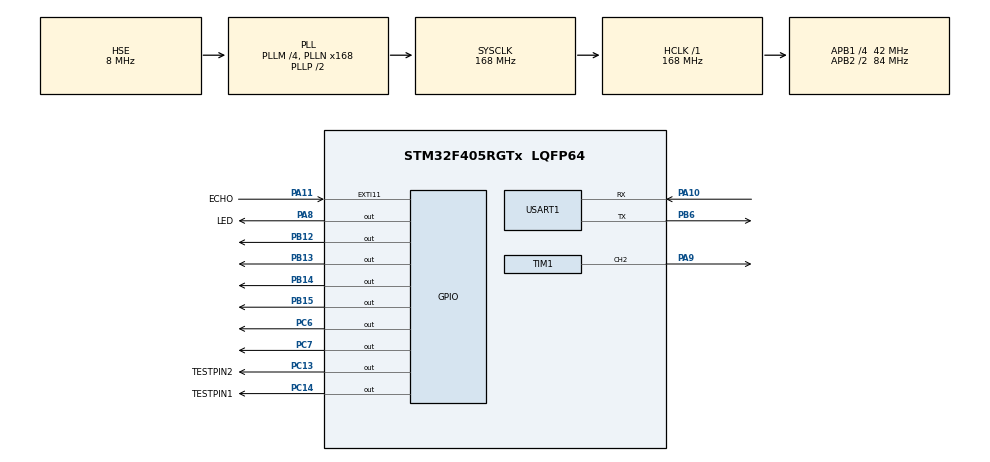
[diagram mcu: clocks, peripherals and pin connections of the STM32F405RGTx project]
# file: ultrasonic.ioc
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Dma.Request0=TIM1_CH2
Dma.TIM1_CH2.0.Direction=DMA_MEMORY_TO_PERIPH
Dma.TIM1_CH2.0.FIFOMode=DMA_FIFOMODE_DISABLE
Dma.TIM1_CH2.0.Instance=DMA2_Stream2
Dma.TIM1_CH2.0.MemDataAlignment=DMA_MDATAALIGN_HALFWORD
Dma.TIM1_CH2.0.MemInc=DMA_MINC_ENABLE
Dma.TIM1_CH2.0.Mode=DMA_NORMAL
Dma.TIM1_CH2.0.PeriphDataAlignment=DMA_PDATAALIGN_HALFWORD
Dma.TIM1_CH2.0.PeriphInc=DMA_PINC_DISABLE
Dma.TIM1_CH2.0.Priority=DMA_PRIORITY_MEDIUM
Mcu.Family=STM32F4
Mcu.Name=STM32F405RGTx
Mcu.Package=LQFP64
NVIC.DMA2_Stream2_IRQn=true\:1\:0\:true\:false\:true\:false\:true
NVIC.EXTI15_10_IRQn=true\:1\:1\:true\:false\:true\:true\:true
NVIC.PriorityGroup=NVIC_PRIORITYGROUP_2
PA10.Mode=Asynchronous
PA10.Signal=USART1_RX
PA11.GPIO_Label=ECHO
PA11.GPIO_ModeDefaultEXTI=GPIO_MODE_IT_FALLING
PA11.GPIO_PuPd=GPIO_PULLUP
PA11.Signal=GPXTI11
PA13.Mode=Serial_Wire
PA13.Signal=SYS_JTMS-SWDIO
PA14.Mode=Serial_Wire
PA14.Signal=SYS_JTCK-SWCLK
PA8.GPIO_Label=LED
PA8.GPIO_PuPd=GPIO_PULLUP
PA8.Signal=GPIO_Output
PA9.Signal=S_TIM1_CH2
PB12.GPIO_PuPd=GPIO_PULLUP
PB12.GPIO_Speed=GPIO_SPEED_FREQ_HIGH
PB12.Signal=GPIO_Output
PB13.GPIO_PuPd=GPIO_PULLUP
PB13.GPIO_Speed=GPIO_SPEED_FREQ_HIGH
PB13.Signal=GPIO_Output
PB14.GPIO_PuPd=GPIO_PULLUP
PB14.GPIO_Speed=GPIO_SPEED_FREQ_HIGH
PB14.Signal=GPIO_Output
PB15.GPIO_PuPd=GPIO_PULLUP
PB15.GPIO_Speed=GPIO_SPEED_FREQ_HIGH
PB15.Signal=GPIO_Output
PB6.Mode=Asynchronous
PB6.Signal=USART1_TX
PC13-ANTI_TAMP.GPIO_Label=TESTPIN2
PC13-ANTI_TAMP.GPIO_PuPd=GPIO_PULLUP
PC13-ANTI_TAMP.Signal=GPIO_Output
PC14-OSC32_IN.GPIO_Label=TESTPIN1
PC14-OSC32_IN.GPIO_PuPd=GPIO_PULLUP
PC14-OSC32_IN.GPIO_Speed=GPIO_SPEED_FREQ_LOW
PC14-OSC32_IN.Signal=GPIO_Output
PC6.Signal=GPIO_Output
PC7.GPIO_PuPd=GPIO_PULLUP
PC7.GPIO_Speed=GPIO_SPEED_FREQ_HIGH
PC7.Signal=GPIO_Output
PH0-OSC_IN.Mode=HSE-External-Oscillator
PH0-OSC_IN.Signal=RCC_OSC_IN
PH1-OSC_OUT.Mode=HSE-External-Oscillator
PH1-OSC_OUT.Signal=RCC_OSC_OUT
ProjectManager.HeapSize=0x200
ProjectManager.StackSize=0x400
ProjectManager.TargetToolchain=Makefile
RCC.48MHZClocksFreq_Value=84000000
RCC.AHBFreq_Value=168000000
RCC.APB1CLKDivider=RCC_HCLK_DIV4
RCC.APB1Freq_Value=42000000
RCC.APB1TimFreq_Value=84000000
RCC.APB2CLKDivider=RCC_HCLK_DIV2
RCC.APB2Freq_Value=84000000
RCC.APB2TimFreq_Value=168000000
RCC.CortexFreq_Value=168000000
RCC.EnbaleCSS=true
RCC.HCLKFreq_Value=168000000
RCC.HSE_VALUE=8000000
RCC.HSI_VALUE=16000000
RCC.LSE_VALUE=32768
RCC.PLLM=4
RCC.PLLN=168
RCC.PLLSourceVirtual=RCC_PLLSOURCE_HSE
RCC.SYSCLKFreq_VALUE=168000000
RCC.SYSCLKSource=RCC_SYSCLKSOURCE_PLLCLK
RCC.VCOOutputFreq_Value=336000000
SH.S_TIM1_CH2.0=TIM1_CH2,Output Compare2 CH2
TIM1.Channel-Output\ Compare2\ CH2=TIM_CHANNEL_2
TIM1.OCMode_2=TIM_OCMODE_TOGGLE
TIM1.OCPolarity_2=TIM_OCPOLARITY_LOW
TIM1.Period=65535
TIM1.Prescaler=168
USART1.VirtualMode=VM_ASYNC
VP_TIM1_VS_ClockSourceINT.Mode=Internal
board=custom

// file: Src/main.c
/* USER CODE BEGIN Header */
/**
  ******************************************************************************
  * @file           : main.c
  * @brief          : Main program body
  ******************************************************************************
  * @attention
  *
  * <h2><center>&copy; Copyright (c) 2019 STMicroelectronics.
  * All rights reserved.</center></h2>
  *
  * This software component is licensed by ST under BSD 3-Clause license,
  * the "License"; You may not use this file except in compliance with the
  * License. You may obtain a copy of the License at:
  *                        opensource.org/licenses/BSD-3-Clause
  *
  ******************************************************************************
  */
/* USER CODE END Header */

#include "main.h"
#include "dma.h"
#include "tim.h"
#include "usart.h"
#include "gpio.h"

/* USER CODE BEGIN Includes */
#include "myprintf.h"
#include "test.h"
#include "leddrv.h"
/* USER CODE END Includes */

void SystemClock_Config(void);

int main(void)
{
  /* USER CODE BEGIN 1 */
  uint8_t printfCnt = 0;
  /* USER CODE END 1 */

  /* MCU Configuration--------------------------------------------------------*/

  /* Reset of all peripherals, Initializes the Flash interface and the Systick. */
  HAL_Init();

  /* Configure the system clock */
  SystemClock_Config();

  /* Initialize all configured peripherals */
  MX_GPIO_Init();
  MX_USART1_UART_Init();
  MX_DMA_Init();
  MX_TIM1_Init();
  /* USER CODE BEGIN 2 */
  Lcd_Init();
  ledTest();

  volatile uint8_t i = 0;
  uint8_t lcdFlag = 0;
  uint8_t RTest[] = {};
  extern ULTRASONIC myUltrasonic;
  //HAL_NVIC_DisableIRQ(EXTI15_10_IRQn);
  /* USER CODE END 2 */

  /* Infinite loop */
  while (1)
  {

    /* USER CODE BEGIN 3 */
    pwmTest();
    uint32_t DTemp = (uint32_t)myUltrasonic.distance;
    if(DTemp <= 999){
      if(lcdFlag == 0){
        Gui_DrawFont_GBK16(0,88,RED,GRAY0,"    ");
        lcdFlag = 1;
      }
      else{
        itoa(DTemp,RTest);
        uint8_t* myDate = RTest;
        reverseCString(myDate);
        Gui_DrawFont_GBK16(4,88,RED,GRAY0,myDate);
      }
    }
    else{
      itoa(DTemp,RTest);
      uint8_t* myDate = RTest;
      reverseCString(myDate);
      Gui_DrawFont_GBK16(0,88,RED,GRAY0,myDate);
      lcdFlag = 0;
    }
    myPrint("%d distance is:%d mm\r\n",i,(uint32_t)myUltrasonic.distance);
    Gui_DrawFont_GBK16(50,88,GRAY0,BLUE,"mm");
    HAL_Delay(20);
    printfCnt++;
  }
  /* USER CODE END 3 */
}

void SystemClock_Config(void)
{
  RCC_OscInitTypeDef RCC_OscInitStruct = {0};
  RCC_ClkInitTypeDef RCC_ClkInitStruct = {0};

  /** Configure the main internal regulator output voltage
  */
  __HAL_RCC_PWR_CLK_ENABLE();
  __HAL_PWR_VOLTAGESCALING_CONFIG(PWR_REGULATOR_VOLTAGE_SCALE1);
  /** Initializes the CPU, AHB and APB busses clocks
  */
  RCC_OscInitStruct.OscillatorType = RCC_OSCILLATORTYPE_HSE;
  RCC_OscInitStruct.HSEState = RCC_HSE_ON;
  RCC_OscInitStruct.PLL.PLLState = RCC_PLL_ON;
  RCC_OscInitStruct.PLL.PLLSource = RCC_PLLSOURCE_HSE;
  RCC_OscInitStruct.PLL.PLLM = 4;
  RCC_OscInitStruct.PLL.PLLN = 168;
  RCC_OscInitStruct.PLL.PLLP = RCC_PLLP_DIV2;
  RCC_OscInitStruct.PLL.PLLQ = 4;
  if (HAL_RCC_OscConfig(&RCC_OscInitStruct) != HAL_OK)
  {
    Error_Handler();
  }
  /** Initializes the CPU, AHB and APB busses clocks
  */
  RCC_ClkInitStruct.ClockType = RCC_CLOCKTYPE_HCLK|RCC_CLOCKTYPE_SYSCLK
                              |RCC_CLOCKTYPE_PCLK1|RCC_CLOCKTYPE_PCLK2;
  RCC_ClkInitStruct.SYSCLKSource = RCC_SYSCLKSOURCE_PLLCLK;
  RCC_ClkInitStruct.AHBCLKDivider = RCC_SYSCLK_DIV1;
  RCC_ClkInitStruct.APB1CLKDivider = RCC_HCLK_DIV4;
  RCC_ClkInitStruct.APB2CLKDivider = RCC_HCLK_DIV2;

  if (HAL_RCC_ClockConfig(&RCC_ClkInitStruct, FLASH_LATENCY_5) != HAL_OK)
  {
    Error_Handler();
  }
  /** Enables the Clock Security System
  */
  HAL_RCC_EnableCSS();
}

void Error_Handler(void)
{
}

/************************ (C) COPYRIGHT STMicroelectronics *****END OF FILE****/
